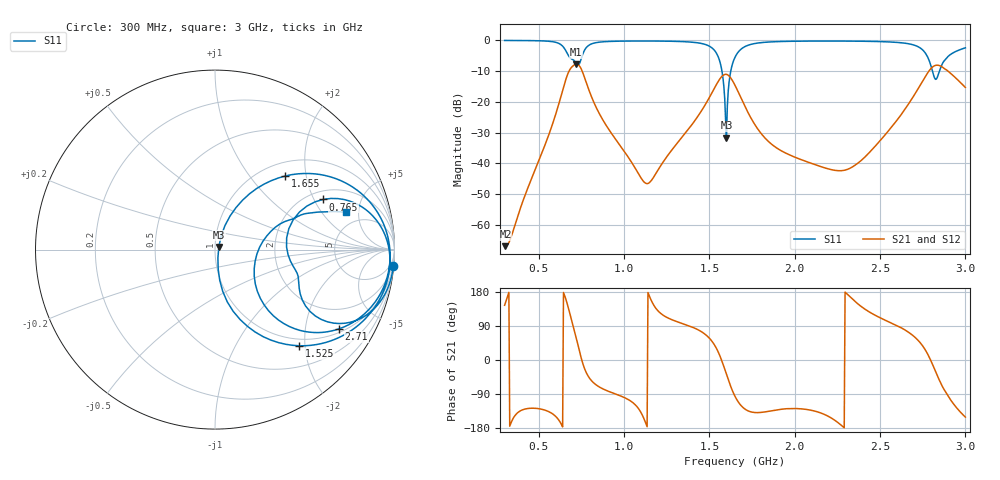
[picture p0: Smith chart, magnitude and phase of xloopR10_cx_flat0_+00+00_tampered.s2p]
! xloopR10_cx_flat0_+00+00_tampered, gap C 0.80 pF
! simulated by sim/fixtures_fdtd.py (S12 = S21, S22 not computed)
# HZ S RI R 50
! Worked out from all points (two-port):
!   541 points, 300 MHz to 3 GHz, reference 50 ohm
!   highest |S21| = -7.76 dB at 720 MHz (marker M1); lowest = -67.0 dB at 305 MHz (marker M2)
!   |S21| within 3 dB of the highest: 671.3 MHz to 759.9 MHz (88.59 MHz wide, 12.4 % of centre); 2.776 GHz to 2.915 GHz (138.3 MHz wide, 4.86 % of centre)
!   lowest |S11| = -31.7 dB at 1.6 GHz (marker M3), VSWR 1.05, Z = 52.2 + j1.56 ohm
!   |S11| at or under -10 dB: 1.573 GHz to 1.625 GHz (51.63 MHz wide, 3.23 % of centre); 2.807 GHz to 2.848 GHz (40.91 MHz wide, 1.45 % of centre)
!   |S22| runs from - to - dB; largest |S21 - S12| = 0
!   S11 on the Smith chart (normalised r, x): 300 MHz: 0, -21; 765 MHz: 2.37, +2.37; 1.525 GHz: 0.87, -1.89; 1.655 GHz: 1.26, +1.52; 2.71 GHz: 1.13, -3.03; 3 GHz: 3.66, +3.56
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3e8  0.994 -0.0938  -0.000368 0.000263  -0.000368 0.000263  0 0
3.05e8  0.9937 -0.0957  -0.000392 0.000219  -0.000392 0.000219  0 0
5.7e8  0.915 -0.2971  -0.0268 -0.0234  -0.0268 -0.0234  0 0
6.65e8  0.5293 -0.3445  -0.229 0.1251  -0.229 0.1251  0 0
7.2e8  0.4204 -0.064  0.2193 0.3454  0.2193 0.3454  0 0
7.5e8  0.4707 0.2094  0.3379 0.0196  0.3379 0.0196  0 0
7.65e8  0.6027 0.2796  0.251 -0.0843  0.251 -0.0843  0 0
8.5e8  0.9244 0.1272  0.0236 -0.0642  0.0236 -0.0642  0 0
1.11e9  0.9722 -0.107  -0.00446 -0.00275  -0.00446 -0.00275  0 0
1.2e9  0.9616 -0.1649  -0.00497 0.00611  -0.00497 0.00611  0 0
1.525e9  0.4696 -0.5359  0.1158 0.1082  0.1158 0.1082  0 0
1.565e9  0.1397 -0.3894  0.2427 0.0299  0.2427 0.0299  0 0
1.6e9  0.0213 0.015  0.2219 -0.1715  0.2219 -0.1715  0 0
1.65e9  0.3519 0.3986  -0.0189 -0.1852  -0.0189 -0.1852  0 0
1.655e9  0.3901 0.4098  -0.0307 -0.1718  -0.0307 -0.1718  0 0
1.835e9  0.9182 0.1859  -0.0176 -0.0168  -0.0176 -0.0168  0 0
2.1e9  0.9752 -0.0184  -0.00677 -0.00727  -0.00677 -0.00727  0 0
2.315e9  0.9662 -0.1256  -0.00799 0.00129  -0.00799 0.00129  0 0
2.55e9  0.9063 -0.2713  -0.00643 0.0334  -0.00643 0.0334  0 0
2.71e9  0.69 -0.442  0.0762 0.1206  0.0762 0.1206  0 0
2.825e9  0.2237 -0.0638  0.3393 -0.1973  0.3393 -0.1973  0 0
3e9  0.729 0.2071  -0.1495 -0.0839  -0.1495 -0.0839  0 0
